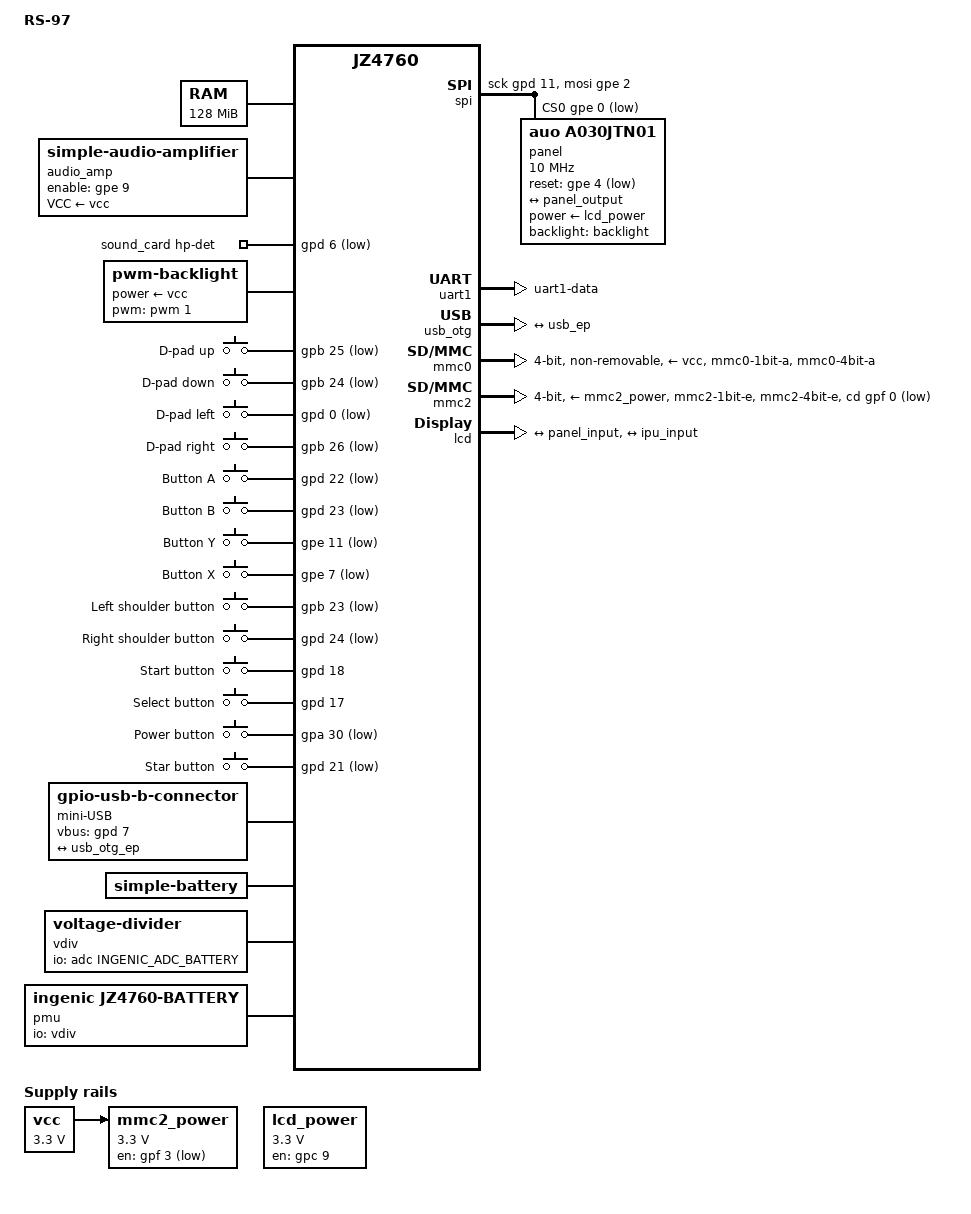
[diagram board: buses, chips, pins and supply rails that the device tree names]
// SPDX-License-Identifier: GPL-2.0
/dts-v1/;

#include "jz4760.dtsi"
#include <dt-bindings/clock/ingenic,tcu.h>

#include <dt-bindings/gpio/gpio.h>
#include <dt-bindings/iio/adc/ingenic,adc.h>
#include <dt-bindings/input/input.h>

/ {
	compatible = "ylm,rs97", "ingenic,jz4760";
	model = "RS-97";

	aliases {
		serial0 = &uart0;
		serial1 = &uart1;
		serial2 = &uart2;
		serial3 = &uart3;
	};

	memory: memory {
		device_type = "memory";
		reg = <0x0 0x8000000>;
	};

	chosen {
		stdout-path = "serial1:57600n8";
	};

	vcc: regulator@0 {
		compatible = "regulator-fixed";
		regulator-name = "vcc";

		regulator-min-microvolt = <3300000>;
		regulator-max-microvolt = <3300000>;
		regulator-always-on;
	};

	lcd_power: regulator@1 {
		compatible = "regulator-fixed";
		regulator-name = "vcc";
		gpio = <&gpc 9 0>;
		enable-active-high;

		regulator-min-microvolt = <3300000>;
		regulator-max-microvolt = <3300000>;
	};

	mmc2_power: regulator@2 {
		compatible = "regulator-fixed";
		regulator-name = "mmc2_vcc";
		gpio = <&gpf 3 0>;

		regulator-min-microvolt = <3300000>;
		regulator-max-microvolt = <3300000>;
		vin-supply = <&vcc>;
	};

	audio_amp: analog-amplifier {
		compatible = "simple-audio-amplifier";
		enable-gpios = <&gpe 9 0>;
		enable-delay-ms = <50>;

		VCC-supply = <&vcc>;
	};

	sound_card: sound {
		compatible = "simple-audio-card";

		simple-audio-card,name = "lepus-audio";
		simple-audio-card,format = "i2s";

		simple-audio-card,widgets =
			"Speaker", "Speaker",
			"Headphone", "Headphones";
		simple-audio-card,routing =
			"Headphones", "LHPOUT",
			"Headphones", "RHPOUT",
			"INL", "LHPOUT",
			"INR", "RHPOUT",
			"Speaker", "OUTL",
			"Speaker", "OUTR";
		simple-audio-card,pin-switches = "Speaker";

		simple-audio-card,hp-det-gpio = <&gpd 6 GPIO_ACTIVE_LOW>;
		simple-audio-card,aux-devs = <&audio_amp>;

		simple-audio-card,bitclock-master = <&dai_codec>;
		simple-audio-card,frame-master = <&dai_codec>;

		dai_cpu: simple-audio-card,cpu {
			sound-dai = <&aic>;
		};

		dai_codec: simple-audio-card,codec {
			sound-dai = <&codec>;
		};
	};

	backlight: backlight {
		compatible = "pwm-backlight";
		pwms = <&pwm 1 40000 0>;
		power-supply = <&vcc>;

		brightness-levels = <0 16 32 48 64 80 96 112 128
				     144 160 176 192 208 224 240 255>;
		default-brightness-level = <12>;

		pinctrl-names = "init", "sleep", "default";
		pinctrl-0 = <&pins_pwm1_sleep>;
		pinctrl-1 = <&pins_pwm1_sleep>;
		pinctrl-2 = <&pins_pwm1>;
	};

	gpio_keys: gpio-keys {
		compatible = "gpio-keys";
		#address-cells = <1>;
		#size-cells = <0>;

		autorepeat;

		btn_up: button@0 {
			label = "D-pad up";
			linux,code = <KEY_UP>;
			linux,can-disable;
			gpios = <&gpb 25 GPIO_ACTIVE_LOW>;
		};

		btn_down: button@1 {
			label = "D-pad down";
			linux,code = <KEY_DOWN>;
			linux,can-disable;
			gpios = <&gpb 24 GPIO_ACTIVE_LOW>;
		};

		btn_left: button@2 {
			label = "D-pad left";
			linux,code = <KEY_LEFT>;
			linux,can-disable;
			gpios = <&gpd 0 GPIO_ACTIVE_LOW>;
		};

		btn_right: button@3 {
			label = "D-pad right";
			linux,code = <KEY_RIGHT>;
			linux,can-disable;
			gpios = <&gpb 26 GPIO_ACTIVE_LOW>;
		};

		btn_a: button@4 {
			label = "Button A";
			linux,code = <KEY_LEFTCTRL>;
			linux,can-disable;
			gpios = <&gpd 22 GPIO_ACTIVE_LOW>;
		};

		btn_b: button@5 {
			label = "Button B";
			linux,code = <KEY_LEFTALT>;
			linux,can-disable;
			gpios = <&gpd 23 GPIO_ACTIVE_LOW>;
		};

		btn_y: button@6 {
			label = "Button Y";
			linux,code = <KEY_LEFTSHIFT>;
			linux,can-disable;
			gpios = <&gpe 11 GPIO_ACTIVE_LOW>;
		};

		btn_x: button@7 {
			label = "Button X";
			linux,code = <KEY_SPACE>;
			linux,can-disable;
			gpios = <&gpe 7 GPIO_ACTIVE_LOW>;
		};

		btn_ltrig: button@8 {
			label = "Left shoulder button";
			linux,code = <KEY_TAB>;
			linux,can-disable;
			gpios = <&gpb 23 GPIO_ACTIVE_LOW>;
		};

		btn_rtrig: button@9 {
			label = "Right shoulder button";
			linux,code = <KEY_BACKSPACE>;
			linux,can-disable;
			gpios = <&gpd 24 GPIO_ACTIVE_LOW>;
		};

		button@10 {
			label = "Start button";
			linux,code = <KEY_ENTER>;
			linux,can-disable;
			gpios = <&gpd 18 GPIO_ACTIVE_HIGH>;
		};

		button@11 {
			label = "Select button";
			linux,code = <KEY_ESC>;
			linux,can-disable;
			gpios = <&gpd 17 GPIO_ACTIVE_HIGH>;
		};

		btn_power: button@12 {
			label = "Power button";
			linux,code = <KEY_POWER>;
			linux,can-disable;
			gpios = <&gpa 30 GPIO_ACTIVE_LOW>;
			wakeup-source;
		};

		btn_star: button@13 {
			label = "Star button";
			linux,code = <KEY_HOME>;
			linux,can-disable;
			gpios = <&gpd 21 GPIO_ACTIVE_LOW>;
			wakeup-source;
		};
	};

	spi: spi {
		compatible = "spi-gpio";
		#address-cells = <1>;
		#size-cells = <0>;

		sck-gpios = <&gpd 11 GPIO_ACTIVE_HIGH>;
		mosi-gpios = <&gpe 2 GPIO_ACTIVE_HIGH>;
		cs-gpios = <&gpe 0 GPIO_ACTIVE_LOW>;
		num-chipselects = <1>;

		panel: lcd-panel@0 {
			compatible = "auo,a030jtn01";
			reg = <0>;

			spi-max-frequency = <10000000>;
			spi-cpol;
			spi-cpha;
			spi-3wire;

			reset-gpios = <&gpe 4 GPIO_ACTIVE_LOW>;
			power-supply = <&lcd_power>;

			backlight = <&backlight>;

			pinctrl-names = "default";
			pinctrl-0 = <&pins_lcd>;

			port {
				panel_input: endpoint {
					remote-endpoint = <&panel_output>;
				};
			};
		};
	};

	usb_conn: connector {
		compatible = "gpio-usb-b-connector", "usb-b-connector";
		label = "mini-USB";
		type = "mini";

		vbus-gpios = <&gpd 7 GPIO_ACTIVE_HIGH>;
		//id-gpios = <&gpa 11 GPIO_ACTIVE_HIGH>;
		//vbus-supply = <&otg_vbus>;

		pinctrl-names = "default";
		pinctrl-0 = <&pins_otg>;

		port {
			usb_ep: endpoint {
				remote-endpoint = <&usb_otg_ep>;
			};
		};
	};

	battery: battery {
		compatible = "simple-battery";
		voltage-min-design-microvolt = <3400000>;
		voltage-max-design-microvolt = <4200000>;
	};

	vdiv: voltage-divider {
		compatible = "voltage-divider";
		#io-channel-cells = <0>;

		output-ohms = <332000>;
		full-ohms = <1332000>;

		io-channels = <&adc INGENIC_ADC_BATTERY>;
	};

	pmu: pmu {
		compatible = "ingenic,jz4760-battery", "ingenic,jz4740-battery";
		io-channels = <&vdiv>;
		io-channel-names = "battery";
		monitored-battery = <&battery>;

		charger = <&usb_conn>;
		power-supplies = <&usb_conn>;
	};
};

&ext {
	clock-frequency = <12000000>;
};

&pinctrl {
	pins_lcd: lcd {
		function = "lcd";
		groups = "lcd-8bit";
	};

	pins_uart1: uart1 {
		function = "uart1";
		groups = "uart1-data";
	};

	pins_mmc0: mmc0 {
		function = "mmc0";
		groups = "mmc0-1bit-a", "mmc0-4bit-a";
	};

	pins_mmc2: mmc2 {
		function = "mmc2";
		groups = "mmc2-1bit-e", "mmc2-4bit-e";
	};

	pwm1 {
		pins_pwm1_sleep: pwm1-sleep {
			pins = "PE1";
			output-low;
		};

		pins_pwm1: pwm1-default {
			function = "pwm1";
			groups = "pwm1";
		};
	};

	pins_otg: otg {
		otg-vbus-pin {
			function = "otg";
			groups = "otg-vbus";
		};

		vbus_pin: vbus-pin {
			pins = "PD7";
			bias-disable;
		};
	};
};

&uart1 {
	pinctrl-names = "default";
	pinctrl-0 = <&pins_uart1>;

	status = "okay";
};

&cgu {
	/*
	 * Put high-speed peripherals under PLL1, such that we can change the
	 * PLL0 frequency on demand without having to suspend peripherals.
	 * We use a rate of 432 MHz, which is the least common multiple of
	 * 27 MHz (required by TV encoder) and 48 MHz (required by USB host).
	 * Use the 32 kHz oscillator as the parent of the RTC for a higher
	 * precision.
	 */
	assigned-clocks =
		<&cgu JZ4760_CLK_PLL1>,
		<&cgu JZ4760_CLK_PLL0_HALF>,
		<&cgu JZ4760_CLK_MMC_MUX>,
		<&cgu JZ4760_CLK_RTC>,
		<&cgu JZ4760_CLK_UHC>,
		<&cgu JZ4760_CLK_LPCLK_DIV>;
	assigned-clock-parents =
		<0>,
		<0>,
		<&cgu JZ4760_CLK_PLL0_HALF>,
		<&cgu JZ4760_CLK_OSC32K>,
		<&cgu JZ4760_CLK_PLL1>,
		<&cgu JZ4760_CLK_PLL1>;
	assigned-clock-rates =
		<432000000>, <600000000>, <50000000>;
};

&tcu {
	/*
	 * 750 kHz for the system timer and clocksource, 12 MHz for the OST,
	 * and use RTC as the parent for the watchdog clock
	 */
	assigned-clocks = <&tcu TCU_CLK_TIMER0>, <&tcu TCU_CLK_TIMER2>,
			  <&tcu TCU_CLK_OST>, <&tcu TCU_CLK_WDT>;
	assigned-clock-parents = <0>, <0>, <0>, <&cgu JZ4760_CLK_RTC>;
	assigned-clock-rates = <750000>, <750000>, <12000000>;

	/* PWM1 is in use, so use channel #2 for the clocksource */
	ingenic,pwm-channels-mask = <0xfa>;
};

&usb_otg {
	port {
		usb_otg_ep: endpoint {
			remote-endpoint = <&usb_ep>;
		};
	};
};

&otg_phy {
	vcc-supply = <&vcc>;
};

&rtc {
	clocks = <&cgu JZ4760_CLK_RTC>;
	clock-names = "rtc";

	system-power-controller;

	ingenic,reset-pin-assert-time-ms = <125>;
	ingenic,min-wakeup-pin-assert-time-ms = <500>;
};

&mmc0 {
	status = "okay";

	bus-width = <4>;
	max-frequency = <50000000>;
	vmmc-supply = <&vcc>;
	non-removable;

	pinctrl-names = "default";
	pinctrl-0 = <&pins_mmc0>;
};

&mmc2 {
	status = "okay";

	bus-width = <4>;
	max-frequency = <50000000>;
	cd-gpios = <&gpf 0 GPIO_ACTIVE_LOW>;
	vmmc-supply = <&mmc2_power>;

	pinctrl-names = "default";
	pinctrl-0 = <&pins_mmc2>;
};

&lcd {
	ports {
		#address-cells = <1>;
		#size-cells = <0>;

		port@0 {
			reg = <0>;

			panel_output: endpoint {
				remote-endpoint = <&panel_input>;
			};
		};

		port@8 {
			reg = <8>;

			ipu_output: endpoint {
				remote-endpoint = <&ipu_input>;
			};
		};
	};
};

&ipu {
	port {
		ipu_input: endpoint {
			remote-endpoint = <&ipu_output>;
		};
	};
};
